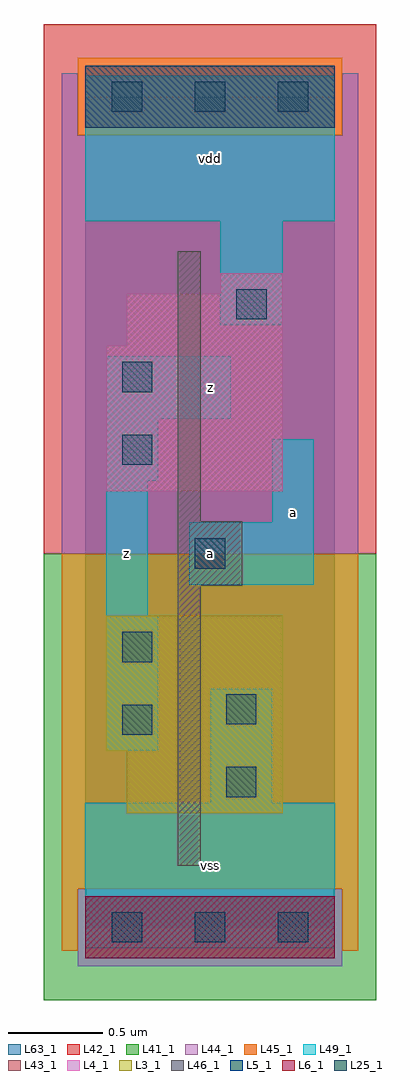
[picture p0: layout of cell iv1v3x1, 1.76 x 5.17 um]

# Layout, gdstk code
import gdstk
lib = gdstk.Library(unit=1e-6, precision=1e-09)
def R(c, l, rs):  # rectangles x0, y0, x1, y1
    for r in rs: c.add(gdstk.rectangle(r[:2], r[2:], *l))
def A(c, l, x, y, w, h, nx, ny, dx, dy):  # array of equal rectangles
    R(c, l, [(x+i*dx, y+j*dy, x+i*dx+w, y+j*dy+h) for i in range(nx) for j in range(ny)])
L3_1 = (3, 1)
L4_1 = (4, 1)
L5_1 = (5, 1)
L6_1 = (6, 1)
L25_1 = (25, 1)
L41_1 = (41, 1)
L42_1 = (42, 1)
L43_1 = (43, 1)
L44_1 = (44, 1)
L45_1 = (45, 1)
L46_1 = (46, 1)
L49_1 = (49, 1)
L63_1 = (63, 1)

iv1v3x1 = lib.new_cell('iv1v3x1')
R(iv1v3x1, L3_1, [(0.22,0.605,1.045,0.935), (0.11,0.935,1.045,1.65)])
R(iv1v3x1, L4_1, [(0.11,2.31,1.045,3.08), (0.22,3.08,1.045,3.355), (0.715,3.355,1.045,3.465)])
R(iv1v3x1, L5_1, [(0,4.235,1.32,4.565)])
R(iv1v3x1, L6_1, [(0,-0.165,1.32,0.165)])
A(iv1v3x1, L25_1, 0.14, -0.08, 0.16, 0.16, 3, 2, 0.44, 4.4)
R(iv1v3x1, L25_1, [(0.745,0.69,0.905,0.85), (0.195,1.02,0.355,1.18), (0.745,1.075,0.905,1.235), (0.195,1.405,0.355,1.565), (0.58,1.9,0.74,2.06), (0.195,2.45,0.355,2.61), (0.195,2.835,0.355,2.995), (0.8,3.22,0.96,3.38)])
R(iv1v3x1, L41_1, [(-0.22,-0.385,1.54,1.98)])
R(iv1v3x1, L42_1, [(-0.22,1.98,1.54,4.785)])
R(iv1v3x1, L43_1, [(0,-0.165,1.32,0.165), (0.22,0.605,1.045,0.935), (0.11,0.935,1.045,1.65), (0.11,2.31,1.045,3.08), (0.22,3.08,1.045,3.355), (0.715,3.355,1.045,3.465), (0,4.235,1.32,4.565)])
R(iv1v3x1, L44_1, [(-0.04,-0.205,1.36,0.205), (-0.125,1.98,1.445,4.195), (-0.125,4.195,-0.04,4.525), (1.36,4.195,1.445,4.525)])
R(iv1v3x1, L45_1, [(-0.125,-0.125,-0.04,0.205), (1.36,-0.125,1.445,0.205), (-0.125,0.205,1.445,1.98), (-0.04,4.195,1.36,4.605)])
R(iv1v3x1, L46_1, [(0.49,0.325,0.61,1.81), (0.49,1.81,0.83,2.15), (0.49,2.15,0.61,3.58)])
R(iv1v3x1, L49_1, [(0,-0.11,1.32,0.66), (0.66,0.66,0.99,1.265), (0.11,0.935,0.385,1.65), (0.11,1.65,0.33,2.365), (0.55,1.815,1.21,2.145), (0.99,2.145,1.21,2.585), (0.11,2.365,0.385,2.695), (0.11,2.695,0.77,3.025), (0.715,3.19,1.045,3.74), (0,3.74,1.32,4.51)])
R(iv1v3x1, L63_1, [(0,0,1.32,4.4)])
iv1v3x1.add(gdstk.Label('z', (0.22,1.98), layer=49, texttype=1))
iv1v3x1.add(gdstk.Label('vss', (0.66,0.33), layer=49, texttype=1))
iv1v3x1.add(gdstk.Label('a', (0.66,1.98), layer=49, texttype=1))
iv1v3x1.add(gdstk.Label('z', (0.66,2.86), layer=49, texttype=1))
iv1v3x1.add(gdstk.Label('vdd', (0.66,4.07), layer=49, texttype=1))
iv1v3x1.add(gdstk.Label('a', (1.1,2.2), layer=49, texttype=1))

lib.write_gds('iv1v3x1.gds')
